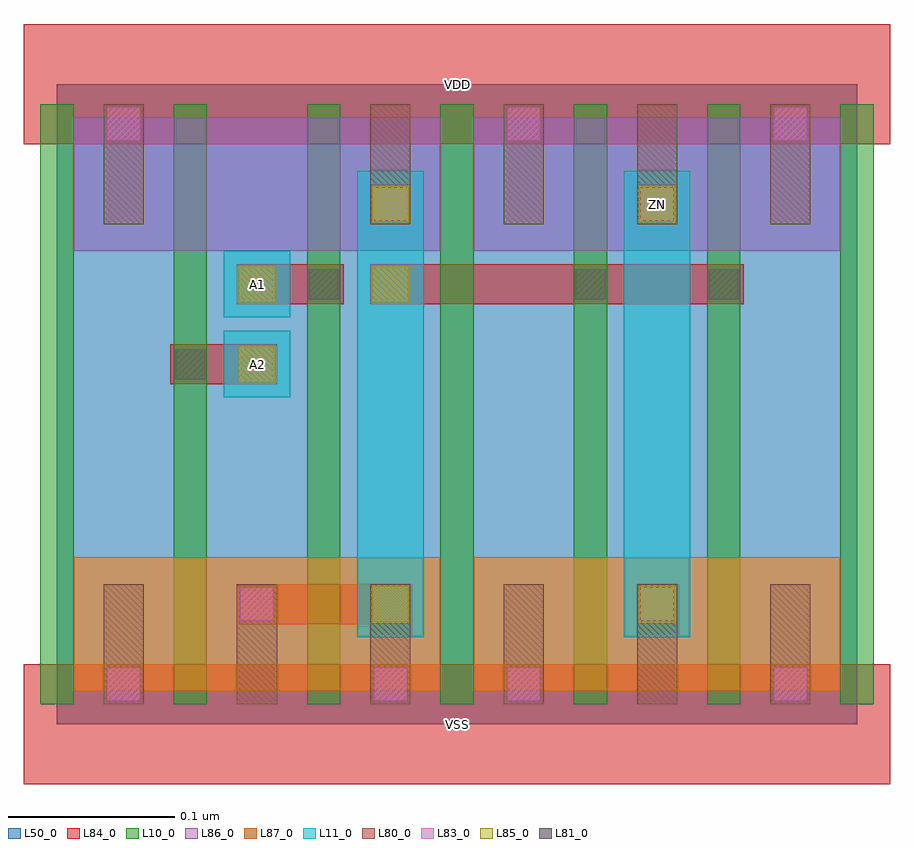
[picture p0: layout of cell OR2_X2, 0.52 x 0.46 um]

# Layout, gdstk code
import gdstk
lib = gdstk.Library(unit=1e-6, precision=1e-09)
def R(c, l, rs):  # rectangles x0, y0, x1, y1
    for r in rs: c.add(gdstk.rectangle(r[:2], r[2:], *l))
def A(c, l, x, y, w, h, nx, ny, dx, dy):  # array of equal rectangles
    R(c, l, [(x+i*dx, y+j*dy, x+i*dx+w, y+j*dy+h) for i in range(nx) for j in range(ny)])
L10_0 = (10, 0)
L11_0 = (11, 0)
L50_0 = (50, 0)
L80_0 = (80, 0)
L81_0 = (81, 0)
L83_0 = (83, 0)
L84_0 = (84, 0)
L85_0 = (85, 0)
L86_0 = (86, 0)
L87_0 = (87, 0)

or2_x2 = lib.new_cell('OR2_X2')
A(or2_x2, L10_0, -0.01, 0.012, 0.02, 0.36, 7, 1, 0.08, 0)
R(or2_x2, L11_0, [(0.18,0.052,0.22,0.332), (0.34,0.052,0.38,0.332), (0.1,0.196,0.14,0.236), (0.1,0.244,0.14,0.284)])
R(or2_x2, L50_0, [(0,0,0.48,0.384)])
A(or2_x2, L80_0, 0.028, 0.012, 0.024, 0.072, 6, 1, 0.08, 0)
A(or2_x2, L80_0, 0.188, 0.3, 0.024, 0.072, 4, 1, 0.08, 0)
R(or2_x2, L80_0, [(0.028,0.3,0.052,0.372)])
R(or2_x2, L81_0, [(0.071,0.207,0.089,0.225), (0.151,0.255,0.169,0.273), (0.311,0.255,0.329,0.273), (0.391,0.255,0.409,0.273)])
R(or2_x2, L83_0, [(0.03,0.014,0.05,0.034), (0.19,0.014,0.21,0.034), (0.27,0.014,0.29,0.034), (0.43,0.014,0.45,0.034), (0.11,0.062,0.13,0.082), (0.35,0.062,0.37,0.082), (0.19,0.302,0.21,0.322), (0.35,0.302,0.37,0.322), (0.03,0.35,0.05,0.37), (0.27,0.35,0.29,0.37), (0.43,0.35,0.45,0.37)])
R(or2_x2, L84_0, [(-0.02,-0.036,0.5,0.036), (0.108,0.06,0.212,0.084), (0.348,0.06,0.372,0.084), (0.068,0.204,0.132,0.228), (0.108,0.252,0.172,0.276), (0.188,0.252,0.412,0.276), (0.188,0.3,0.212,0.324), (0.348,0.3,0.372,0.324), (-0.02,0.348,0.5,0.42)])
R(or2_x2, L85_0, [(0.189,0.061,0.211,0.083), (0.349,0.061,0.371,0.083), (0.109,0.205,0.131,0.227), (0.109,0.253,0.131,0.275), (0.189,0.253,0.211,0.275), (0.189,0.301,0.211,0.323), (0.349,0.301,0.371,0.323)])
R(or2_x2, L86_0, [(0.01,0.284,0.23,0.364), (0.25,0.284,0.47,0.364)])
R(or2_x2, L87_0, [(0.01,0.02,0.23,0.1), (0.25,0.02,0.47,0.1)])
or2_x2.add(gdstk.Label('VDD', (0.24,0.384), layer=88, texttype=0))
or2_x2.add(gdstk.Label('VSS', (0.24,0), layer=88, texttype=0))
or2_x2.add(gdstk.Label('ZN', (0.36,0.312), layer=31, texttype=0))
or2_x2.add(gdstk.Label('A1', (0.12,0.264), layer=31, texttype=0))
or2_x2.add(gdstk.Label('A2', (0.12,0.216), layer=31, texttype=0))

lib.write_gds('OR2_X2.gds')
